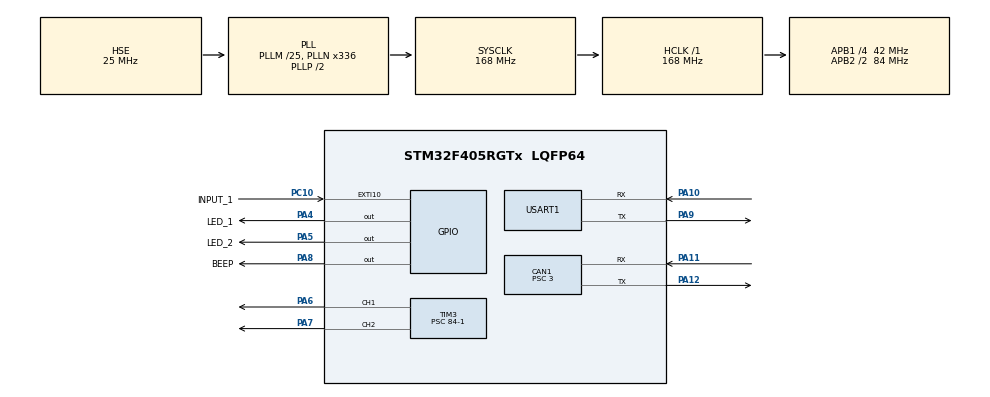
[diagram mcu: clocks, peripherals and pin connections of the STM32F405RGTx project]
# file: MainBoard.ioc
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CAN1.ABOM=ENABLE
CAN1.AWUM=ENABLE
CAN1.BS1=CAN_BS1_9TQ
CAN1.BS2=CAN_BS2_4TQ
CAN1.CalculateBaudRate=1000000
CAN1.CalculateTimeBit=1000
CAN1.CalculateTimeQuantum=71.42857142857143
CAN1.NART=ENABLE
CAN1.Prescaler=3
FREERTOS.Tasks01=WaterTask,16,128,Water_Task,As weak,NULL,Dynamic,NULL,NULL;BeepTask,9,128,Beep_Task,As weak,NULL,Static,BeepTaskBuffer,BeepTaskControlBlock;NoiseTask,10,128,Noise_Task,As weak,NULL,Dynamic,NULL,NULL;BreatheTask,8,128,Breathe_Task,As weak,NULL,Dynamic,NULL,NULL
Mcu.Family=STM32F4
Mcu.Name=STM32F405RGTx
Mcu.Package=LQFP64
NVIC.CAN1_RX0_IRQn=true\:5\:0\:false\:false\:true\:true\:true\:true\:true
NVIC.CAN1_RX1_IRQn=true\:5\:0\:false\:false\:true\:true\:true\:true\:true
NVIC.EXTI15_10_IRQn=true\:5\:0\:false\:false\:true\:true\:true\:true\:true
NVIC.PriorityGroup=NVIC_PRIORITYGROUP_4
NVIC.TIM1_UP_TIM10_IRQn=true\:15\:0\:false\:false\:true\:false\:false\:true\:true
NVIC.TIM2_IRQn=true\:5\:0\:false\:false\:true\:true\:true\:true\:true
NVIC.TIM3_IRQn=true\:5\:0\:false\:false\:true\:true\:true\:true\:true
NVIC.TimeBase=TIM1_UP_TIM10_IRQn
NVIC.TimeBaseIP=TIM1
NVIC.USART1_IRQn=true\:5\:0\:false\:false\:true\:true\:true\:true\:true
PA10.GPIO_PuPd=GPIO_PULLUP
PA10.Mode=Asynchronous
PA10.Signal=USART1_RX
PA11.Mode=CAN_Activate
PA11.Signal=CAN1_RX
PA12.Mode=CAN_Activate
PA12.Signal=CAN1_TX
PA13.Mode=Serial_Wire
PA13.Signal=SYS_JTMS-SWDIO
PA14.Mode=Serial_Wire
PA14.Signal=SYS_JTCK-SWCLK
PA4.GPIO_Label=LED_1
PA4.GPIO_PuPd=GPIO_PULLDOWN
PA4.Signal=GPIO_Output
PA5.GPIO_Label=LED_2
PA5.GPIO_PuPd=GPIO_PULLDOWN
PA5.Signal=GPIO_Output
PA6.Signal=S_TIM3_CH1
PA7.Signal=S_TIM3_CH2
PA8.GPIO_Label=BEEP
PA8.GPIO_PuPd=GPIO_PULLDOWN
PA8.Signal=GPIO_Output
PA9.Mode=Asynchronous
PA9.Signal=USART1_TX
PC10.GPIO_Label=INPUT_1
PC10.GPIO_PuPd=GPIO_PULLUP
PC10.Signal=GPXTI10
PH0-OSC_IN.Mode=HSE-External-Oscillator
PH0-OSC_IN.Signal=RCC_OSC_IN
PH1-OSC_OUT.Mode=HSE-External-Oscillator
PH1-OSC_OUT.Signal=RCC_OSC_OUT
ProjectManager.HeapSize=0x800
ProjectManager.StackSize=0x400
ProjectManager.TargetToolchain=MDK-ARM V5.32
RCC.48MHZClocksFreq_Value=84000000
RCC.AHBFreq_Value=168000000
RCC.APB1CLKDivider=RCC_HCLK_DIV4
RCC.APB1Freq_Value=42000000
RCC.APB1TimFreq_Value=84000000
RCC.APB2CLKDivider=RCC_HCLK_DIV2
RCC.APB2Freq_Value=84000000
RCC.APB2TimFreq_Value=168000000
RCC.CortexFreq_Value=168000000
RCC.HCLKFreq_Value=168000000
RCC.HSE_VALUE=25000000
RCC.HSI_VALUE=16000000
RCC.LSE_VALUE=32768
RCC.PLLM=25
RCC.PLLN=336
RCC.PLLSourceVirtual=RCC_PLLSOURCE_HSE
RCC.SYSCLKFreq_VALUE=168000000
RCC.SYSCLKSource=RCC_SYSCLKSOURCE_PLLCLK
RCC.VCOOutputFreq_Value=336000000
SH.S_TIM3_CH1.0=TIM3_CH1,PWM Generation1 CH1
SH.S_TIM3_CH2.0=TIM3_CH2,PWM Generation2 CH2
TIM2.Period=2000-1
TIM2.Prescaler=84-1
TIM3.Channel-PWM\ Generation1\ CH1=TIM_CHANNEL_1
TIM3.Channel-PWM\ Generation2\ CH2=TIM_CHANNEL_2
TIM3.Period=1000-1
TIM3.Prescaler=84-1
USART1.VirtualMode=VM_ASYNC
VP_FREERTOS_VS_CMSIS_V2.Mode=CMSIS_V2
VP_SYS_VS_tim1.Mode=TIM1
VP_TIM2_VS_ClockSourceINT.Mode=Internal
VP_TIM3_VS_ClockSourceINT.Mode=Internal
board=custom

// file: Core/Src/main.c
/* USER CODE BEGIN Header */
/**
 ******************************************************************************
 * @file           : main.c
 * @brief          : Main program body
 ******************************************************************************
 * @attention
 *
 * Copyright (c) 2026 STMicroelectronics.
 * All rights reserved.
 *
 * This software is licensed under terms that can be found in the LICENSE file
 * in the root directory of this software component.
 * If no LICENSE file comes with this software, it is provided AS-IS.
 *
 ******************************************************************************
 */
/* USER CODE END Header */
#include "main.h"
#include "cmsis_os.h"
#include "can.h"
#include "tim.h"
#include "usart.h"
#include "gpio.h"

/* USER CODE BEGIN Includes */
#include "UART_IRQHandler.h"
#include "TIM_IRQHandler.h"
#include "CAN_IRQHandler.h"
#include "UART_IRQHandler.h"
#include "beep.h"
#include "wave.h"
#include "myostask.h"
/* USER CODE END Includes */

void SystemClock_Config(void);
void MX_FREERTOS_Init(void);

int main(void)
{

  /* MCU Configuration--------------------------------------------------------*/

  /* Reset of all peripherals, Initializes the Flash interface and the Systick. */
  HAL_Init();

  /* Configure the system clock */
  SystemClock_Config();

  /* Initialize all configured peripherals */
  MX_GPIO_Init();
  MX_CAN1_Init();
  MX_TIM2_Init();
  MX_USART1_UART_Init();
  MX_TIM3_Init();
  /* USER CODE BEGIN 2 */
  if (HAL_TIM_PWM_Start(&htim3, TIM_CHANNEL_1) != HAL_OK)
  {
    Error_Handler();
  }

  if (HAL_TIM_PWM_Start(&htim3, TIM_CHANNEL_2) != HAL_OK)
  {
    Error_Handler();
  }

  if (HAL_TIM_Base_Start_IT(&htim2) != HAL_OK)
  {
    Error_Handler();
  }

  UART_Start_Receive();

  /* USER CODE END 2 */

  /* Init scheduler */
  osKernelInitialize();  /* Call init function for freertos objects (in cmsis_os2.c) */
  MX_FREERTOS_Init();

  /* Start scheduler */
  osKernelStart();

  /* We should never get here as control is now taken by the scheduler */

  /* Infinite loop */
  while (1)
  {

  }
}

void SystemClock_Config(void)
{
  RCC_OscInitTypeDef RCC_OscInitStruct = {0};
  RCC_ClkInitTypeDef RCC_ClkInitStruct = {0};

  /** Configure the main internal regulator output voltage
  */
  __HAL_RCC_PWR_CLK_ENABLE();
  __HAL_PWR_VOLTAGESCALING_CONFIG(PWR_REGULATOR_VOLTAGE_SCALE1);

  /** Initializes the RCC Oscillators according to the specified parameters
  * in the RCC_OscInitTypeDef structure.
  */
  RCC_OscInitStruct.OscillatorType = RCC_OSCILLATORTYPE_HSE;
  RCC_OscInitStruct.HSEState = RCC_HSE_ON;
  RCC_OscInitStruct.PLL.PLLState = RCC_PLL_ON;
  RCC_OscInitStruct.PLL.PLLSource = RCC_PLLSOURCE_HSE;
  RCC_OscInitStruct.PLL.PLLM = 25;
  RCC_OscInitStruct.PLL.PLLN = 336;
  RCC_OscInitStruct.PLL.PLLP = RCC_PLLP_DIV2;
  RCC_OscInitStruct.PLL.PLLQ = 4;
  if (HAL_RCC_OscConfig(&RCC_OscInitStruct) != HAL_OK)
  {
    Error_Handler();
  }

  /** Initializes the CPU, AHB and APB buses clocks
  */
  RCC_ClkInitStruct.ClockType = RCC_CLOCKTYPE_HCLK|RCC_CLOCKTYPE_SYSCLK
                              |RCC_CLOCKTYPE_PCLK1|RCC_CLOCKTYPE_PCLK2;
  RCC_ClkInitStruct.SYSCLKSource = RCC_SYSCLKSOURCE_PLLCLK;
  RCC_ClkInitStruct.AHBCLKDivider = RCC_SYSCLK_DIV1;
  RCC_ClkInitStruct.APB1CLKDivider = RCC_HCLK_DIV4;
  RCC_ClkInitStruct.APB2CLKDivider = RCC_HCLK_DIV2;

  if (HAL_RCC_ClockConfig(&RCC_ClkInitStruct, FLASH_LATENCY_5) != HAL_OK)
  {
    Error_Handler();
  }
}

void HAL_TIM_PeriodElapsedCallback(TIM_HandleTypeDef *htim)
{
  if (htim->Instance == TIM1)
  {
    HAL_IncTick();
  }
  /* USER CODE BEGIN Callback 1 */
TIM_PeriodElapsedCallback(htim);
  /* USER CODE END Callback 1 */
}

void Error_Handler(void)
{
  __disable_irq();
  while (1)
  {
  }
}

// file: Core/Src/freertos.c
/* USER CODE BEGIN Header */
/**
  ******************************************************************************
  * File Name          : freertos.c
  * Description        : Code for freertos applications
  ******************************************************************************
  * @attention
  *
  * Copyright (c) 2026 STMicroelectronics.
  * All rights reserved.
  *
  * This software is licensed under terms that can be found in the LICENSE file
  * in the root directory of this software component.
  * If no LICENSE file comes with this software, it is provided AS-IS.
  *
  ******************************************************************************
  */
/* USER CODE END Header */

#include "FreeRTOS.h"
#include "task.h"
#include "main.h"
#include "cmsis_os.h"

typedef StaticTask_t osStaticThreadDef_t;

/* Definitions for WaterTask */
osThreadId_t WaterTaskHandle;
const osThreadAttr_t WaterTask_attributes = {
  .name = "WaterTask",
  .stack_size = 128 * 4,
  .priority = (osPriority_t) osPriorityBelowNormal,
};
/* Definitions for BeepTask */
osThreadId_t BeepTaskHandle;
uint32_t BeepTaskBuffer[ 128 ];
osStaticThreadDef_t BeepTaskControlBlock;
const osThreadAttr_t BeepTask_attributes = {
  .name = "BeepTask",
  .cb_mem = &BeepTaskControlBlock,
  .cb_size = sizeof(BeepTaskControlBlock),
  .stack_mem = &BeepTaskBuffer[0],
  .stack_size = sizeof(BeepTaskBuffer),
  .priority = (osPriority_t) osPriorityLow1,
};
/* Definitions for NoiseTask */
osThreadId_t NoiseTaskHandle;
const osThreadAttr_t NoiseTask_attributes = {
  .name = "NoiseTask",
  .stack_size = 128 * 4,
  .priority = (osPriority_t) osPriorityLow2,
};
/* Definitions for BreatheTask */
osThreadId_t BreatheTaskHandle;
const osThreadAttr_t BreatheTask_attributes = {
  .name = "BreatheTask",
  .stack_size = 128 * 4,
  .priority = (osPriority_t) osPriorityLow,
};

void Water_Task(void *argument);
void Beep_Task(void *argument);
void Noise_Task(void *argument);
void Breathe_Task(void *argument);

void MX_FREERTOS_Init(void); /* (MISRA C 2004 rule 8.1) */

void MX_FREERTOS_Init(void) {

  /* Create the thread(s) */
  /* creation of WaterTask */
  WaterTaskHandle = osThreadNew(Water_Task, NULL, &WaterTask_attributes);

  /* creation of BeepTask */
  BeepTaskHandle = osThreadNew(Beep_Task, NULL, &BeepTask_attributes);

  /* creation of NoiseTask */
  NoiseTaskHandle = osThreadNew(Noise_Task, NULL, &NoiseTask_attributes);

  /* creation of BreatheTask */
  BreatheTaskHandle = osThreadNew(Breathe_Task, NULL, &BreatheTask_attributes);

}

__weak void Water_Task(void *argument)
{
  for(;;)
  {
    osDelay(1);
  }
}

__weak void Beep_Task(void *argument)
{
  for(;;)
  {
    osDelay(1);
  }
}

__weak void Noise_Task(void *argument)
{
  for(;;)
  {
    osDelay(1);
  }
}

__weak void Breathe_Task(void *argument)
{
  for(;;)
  {
    osDelay(1);
  }
}
